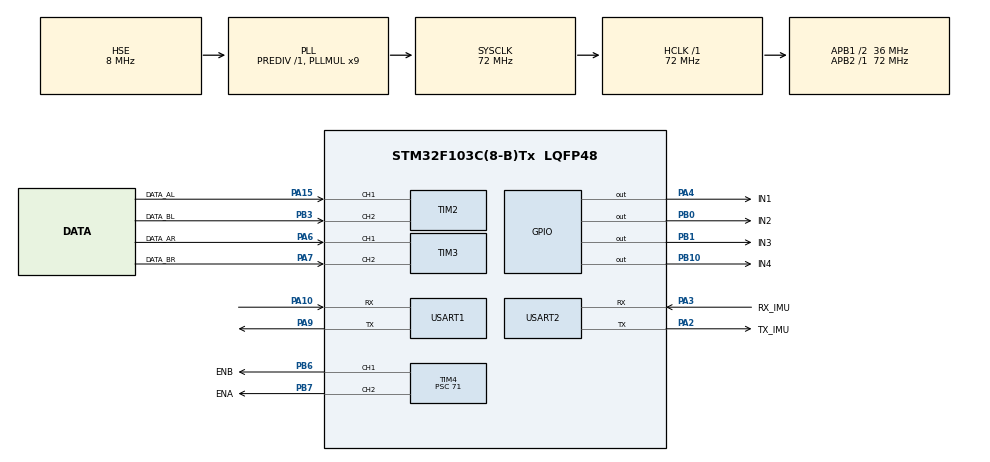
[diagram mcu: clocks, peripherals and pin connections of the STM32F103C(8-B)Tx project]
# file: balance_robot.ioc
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Dma.Request0=USART2_RX
Dma.Request1=USART1_RX
Dma.Request2=USART1_TX
Dma.USART1_RX.1.Direction=DMA_PERIPH_TO_MEMORY
Dma.USART1_RX.1.Instance=DMA1_Channel5
Dma.USART1_RX.1.MemDataAlignment=DMA_MDATAALIGN_BYTE
Dma.USART1_RX.1.MemInc=DMA_MINC_ENABLE
Dma.USART1_RX.1.Mode=DMA_CIRCULAR
Dma.USART1_RX.1.PeriphDataAlignment=DMA_PDATAALIGN_BYTE
Dma.USART1_RX.1.PeriphInc=DMA_PINC_DISABLE
Dma.USART1_RX.1.Priority=DMA_PRIORITY_LOW
Dma.USART1_TX.2.Direction=DMA_MEMORY_TO_PERIPH
Dma.USART1_TX.2.Instance=DMA1_Channel4
Dma.USART1_TX.2.MemDataAlignment=DMA_MDATAALIGN_BYTE
Dma.USART1_TX.2.MemInc=DMA_MINC_ENABLE
Dma.USART1_TX.2.Mode=DMA_CIRCULAR
Dma.USART1_TX.2.PeriphDataAlignment=DMA_PDATAALIGN_BYTE
Dma.USART1_TX.2.PeriphInc=DMA_PINC_DISABLE
Dma.USART1_TX.2.Priority=DMA_PRIORITY_LOW
Dma.USART2_RX.0.Direction=DMA_PERIPH_TO_MEMORY
Dma.USART2_RX.0.Instance=DMA1_Channel6
Dma.USART2_RX.0.MemDataAlignment=DMA_MDATAALIGN_BYTE
Dma.USART2_RX.0.MemInc=DMA_MINC_ENABLE
Dma.USART2_RX.0.Mode=DMA_CIRCULAR
Dma.USART2_RX.0.PeriphDataAlignment=DMA_PDATAALIGN_BYTE
Dma.USART2_RX.0.PeriphInc=DMA_PINC_DISABLE
Dma.USART2_RX.0.Priority=DMA_PRIORITY_LOW
Mcu.Family=STM32F1
Mcu.Name=STM32F103C(8-B)Tx
Mcu.Package=LQFP48
NVIC.DMA1_Channel5_IRQn=true\:0\:0\:false\:false\:true\:true\:true\:true
NVIC.DMA1_Channel6_IRQn=true\:0\:0\:false\:false\:true\:false\:true\:true
NVIC.PriorityGroup=NVIC_PRIORITYGROUP_4
NVIC.USART1_IRQn=true\:0\:0\:false\:false\:true\:true\:true\:true
NVIC.USART2_IRQn=true\:0\:0\:false\:false\:true\:true\:true\:true
PA10.Mode=Asynchronous
PA10.Signal=USART1_RX
PA13.Mode=Serial_Wire
PA13.Signal=SYS_JTMS-SWDIO
PA14.Mode=Serial_Wire
PA14.Signal=SYS_JTCK-SWCLK
PA15.GPIO_Label=DATA_AL
PA15.Signal=S_TIM2_CH1_ETR
PA2.GPIO_Label=TX_IMU
PA2.Mode=Asynchronous
PA2.Signal=USART2_TX
PA3.GPIO_Label=RX_IMU
PA3.Mode=Asynchronous
PA3.Signal=USART2_RX
PA4.GPIO_Label=IN1
PA4.Signal=GPIO_Output
PA6.GPIO_Label=DATA_AR
PA6.Signal=S_TIM3_CH1
PA7.GPIO_Label=DATA_BR
PA7.Signal=S_TIM3_CH2
PA9.Mode=Asynchronous
PA9.Signal=USART1_TX
PB0.GPIO_Label=IN2
PB0.Signal=GPIO_Output
PB1.GPIO_Label=IN3
PB1.Signal=GPIO_Output
PB10.GPIO_Label=IN4
PB10.Signal=GPIO_Output
PB3.GPIO_Label=DATA_BL
PB3.Signal=S_TIM2_CH2
PB6.GPIO_Label=ENB
PB6.Signal=S_TIM4_CH1
PB7.GPIO_Label=ENA
PB7.Signal=S_TIM4_CH2
PD0-OSC_IN.Mode=HSE-External-Oscillator
PD0-OSC_IN.Signal=RCC_OSC_IN
PD1-OSC_OUT.Mode=HSE-External-Oscillator
PD1-OSC_OUT.Signal=RCC_OSC_OUT
ProjectManager.HeapSize=0x200
ProjectManager.StackSize=0x400
ProjectManager.TargetToolchain=STM32CubeIDE
RCC.AHBFreq_Value=72000000
RCC.APB1CLKDivider=RCC_HCLK_DIV2
RCC.APB1Freq_Value=36000000
RCC.APB1TimFreq_Value=72000000
RCC.APB2Freq_Value=72000000
RCC.APB2TimFreq_Value=72000000
RCC.HCLKFreq_Value=72000000
RCC.PLLMUL=RCC_PLL_MUL9
RCC.PLLSourceVirtual=RCC_PLLSOURCE_HSE
RCC.SYSCLKFreq_VALUE=72000000
RCC.SYSCLKSource=RCC_SYSCLKSOURCE_PLLCLK
RCC.USBFreq_Value=72000000
SH.S_TIM2_CH1_ETR.0=TIM2_CH1,Encoder_Interface
SH.S_TIM2_CH2.0=TIM2_CH2,Encoder_Interface
SH.S_TIM3_CH1.0=TIM3_CH1,Encoder_Interface
SH.S_TIM3_CH2.0=TIM3_CH2,Encoder_Interface
SH.S_TIM4_CH1.0=TIM4_CH1,PWM Generation1 CH1
SH.S_TIM4_CH2.0=TIM4_CH2,PWM Generation2 CH2
TIM2.EncoderMode=TIM_ENCODERMODE_TI12
TIM3.EncoderMode=TIM_ENCODERMODE_TI12
TIM4.Channel-PWM\ Generation1\ CH1=TIM_CHANNEL_1
TIM4.Channel-PWM\ Generation2\ CH2=TIM_CHANNEL_2
TIM4.Period=99
TIM4.Prescaler=71
USART1.VirtualMode=VM_ASYNC
USART2.VirtualMode=VM_ASYNC
VP_TIM4_VS_ClockSourceINT.Mode=Internal
board=custom

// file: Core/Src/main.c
/* USER CODE BEGIN Header */
/* ... (giữ nguyên phần header) */
/* USER CODE END Header */
#include "main.h"

/* USER CODE BEGIN Includes */
#include "Motor_control.h"
#include "encoder.h"
#include "PID.h"
#include "R1350N.h"
#include "math.h"
#include "protocol.h"          // ← giữ nguyên
#include "string.h"
/* USER CODE END Includes */

TIM_HandleTypeDef htim2;
TIM_HandleTypeDef htim3;
TIM_HandleTypeDef htim4;

UART_HandleTypeDef huart1;
UART_HandleTypeDef huart2;
DMA_HandleTypeDef hdma_usart1_rx;
DMA_HandleTypeDef hdma_usart1_tx;
DMA_HandleTypeDef hdma_usart2_rx;

/* USER CODE BEGIN PV */
uint8_t uart_rx_buf[64]; // Bộ đệm DMA nhận dữ liệu từ ESP32
CommandPacket_t rx_packet; // Struct chứa PID mới từ Web
uint8_t rx_buffer_tam[128]; // Thùng gom mảnh vụn
uint16_t rx_len_tam = 0;    // Số byte hiện có trong thùng
Motor_t motor_left;
Motor_t motor_right;
Encoder_t enc_left, enc_right;
R1350N_t imu;

uint32_t pid_run_count = 0;
/* USER CODE END PV */

void SystemClock_Config(void);
static void MX_GPIO_Init(void);
static void MX_DMA_Init(void);
static void MX_TIM2_Init(void);
static void MX_TIM3_Init(void);
static void MX_TIM4_Init(void);
static void MX_USART2_UART_Init(void);
static void MX_USART1_UART_Init(void);
/* USER CODE BEGIN PFP */
PIDController pid_balance;
/* USER CODE END PFP */

/* USER CODE BEGIN 0 */
void HAL_UART_RxCpltCallback(UART_HandleTypeDef *huart) {
    if (huart->Instance == USART2) {
        R1350N_Parse(&imu);
    }
}
/* USER CODE END 0 */

int main(void)
{

  /* MCU Configuration--------------------------------------------------------*/

  /* Reset of all peripherals, Initializes the Flash interface and the Systick. */
  HAL_Init();

  /* Configure the system clock */
  SystemClock_Config();

  /* Initialize all configured peripherals */
  MX_GPIO_Init();
  MX_DMA_Init();
  MX_TIM2_Init();
  MX_TIM3_Init();
  MX_TIM4_Init();
  MX_USART2_UART_Init();
  MX_USART1_UART_Init();
  /* USER CODE BEGIN 2 */
  Motor_Init(&motor_left, GPIOA, GPIO_PIN_4, GPIOB, GPIO_PIN_0, &htim4, TIM_CHANNEL_2, 30, 99);
    Motor_Init(&motor_right, GPIOB, GPIO_PIN_1, GPIOB, GPIO_PIN_10, &htim4, TIM_CHANNEL_1, 30, 99);
    Encoder_Init(&enc_left, &htim2, 11, 30.0f);
    Encoder_Init(&enc_right, &htim3, 11, 30.0f);

    R1350N_Init(&imu, &huart2);

    // KÍCH HOẠT LẮNG NGHE ESP32 QUA DMA
    HAL_UARTEx_ReceiveToIdle_DMA(&huart1, uart_rx_buf, sizeof(CommandPacket_t) + 10);

    HAL_TIM_Encoder_Start(&htim2, TIM_CHANNEL_ALL);
    HAL_TIM_Encoder_Start(&htim3, TIM_CHANNEL_ALL);

    // Khởi tạo thông số PID mặc định
    pid_balance.Kp = 0.0f;
    pid_balance.Ki = 0.0f;
    pid_balance.Kd = 0.0f;
    pid_balance.tau = 0.05f;
    pid_balance.T = 0.01f;
    pid_balance.limMin = -45.0f;
    pid_balance.limMax = 45.0f;
    pid_balance.limMinInt = -90.0f;
    pid_balance.limMaxInt = 90.0f;
    PIDController_Init(&pid_balance);

    // Calib IMU
    imu.gyro_bias = 0.0f;
    //HAL_GPIO_WritePin(GPIOC, GPIO_PIN_13, GPIO_PIN_SET);
    for (int i = 0; i < 300; i++) {
        while (!imu.is_data_ready) {}
        imu.is_data_ready = false;
        imu.gyro_bias += imu.rate;
        HAL_Delay(10);
    }
    imu.gyro_bias /= 300.0f;
    //HAL_GPIO_WritePin(GPIOC, GPIO_PIN_13, GPIO_PIN_RESET);
    imu.filtered_angle = imu.angle;
  /* USER CODE END 2 */

  /* Infinite loop */
  while (1)
  {

    /* USER CODE BEGIN 3 */
	  // 1. GỬI TELEMETRY LÊN ESP32 MỖI 50ms
	  static uint32_t last_telemetry = 0;
	  if (HAL_GetTick() - last_telemetry >= 50) {
	      // Truyền PID đang chạy và Offset Kx thực tế lên Web
	      Send_Telemetry(imu.filtered_angle, 0.0f, pid_balance.Kp, pid_balance.Ki, pid_balance.Kd, rx_packet.kx);
	      last_telemetry = HAL_GetTick();
	  }

	  // 2. LOGIC GIỮ THĂNG BẰNG
	  if (imu.is_data_ready) {
	      imu.is_data_ready = false;
	     // pid_run_count++;

	      // --- Bộ lọc bù Complementary Filter ---
	      float dt = 0.01f;
	      float alpha = 0.98f;
	      float accel_angle = atan2f(-imu.acc_x, imu.acc_y) * (180.0f / 3.14159265f);
	      float gyro_angle = imu.filtered_angle + (imu.rate - imu.gyro_bias) * dt;
	      imu.filtered_angle = alpha * gyro_angle + (1.0f - alpha) * accel_angle;

	      // --- Cập nhật vận tốc ---
	      Encoder_Update(&enc_left, dt);
	      Encoder_Update(&enc_right, dt);

	      // --- Tính toán PID ---
	      float current_angle = imu.filtered_angle;

	      // Góc ngã > 45 độ thì tắt motor bảo vệ mạch
	      if (current_angle > 45.0f || current_angle < -45.0f) {
	          Motor_Stop(&motor_left);
	          Motor_Stop(&motor_right);
	          pid_balance.integrator = 0.0f; // Reset tích phân
	          continue;
	      }

	      float output = PIDController_Update(&pid_balance, rx_packet.kx, current_angle);
	      Motor_Control(&motor_left, (int16_t)output);
	      Motor_Control(&motor_right, (int16_t)output);
	        }
  	  }
  /* USER CODE END 3 */
}

void SystemClock_Config(void)
{
  RCC_OscInitTypeDef RCC_OscInitStruct = {0};
  RCC_ClkInitTypeDef RCC_ClkInitStruct = {0};

  /** Initializes the RCC Oscillators according to the specified parameters
  * in the RCC_OscInitTypeDef structure.
  */
  RCC_OscInitStruct.OscillatorType = RCC_OSCILLATORTYPE_HSE;
  RCC_OscInitStruct.HSEState = RCC_HSE_ON;
  RCC_OscInitStruct.HSEPredivValue = RCC_HSE_PREDIV_DIV1;
  RCC_OscInitStruct.HSIState = RCC_HSI_ON;
  RCC_OscInitStruct.PLL.PLLState = RCC_PLL_ON;
  RCC_OscInitStruct.PLL.PLLSource = RCC_PLLSOURCE_HSE;
  RCC_OscInitStruct.PLL.PLLMUL = RCC_PLL_MUL9;
  if (HAL_RCC_OscConfig(&RCC_OscInitStruct) != HAL_OK)
  {
    Error_Handler();
  }

  /** Initializes the CPU, AHB and APB buses clocks
  */
  RCC_ClkInitStruct.ClockType = RCC_CLOCKTYPE_HCLK|RCC_CLOCKTYPE_SYSCLK
                              |RCC_CLOCKTYPE_PCLK1|RCC_CLOCKTYPE_PCLK2;
  RCC_ClkInitStruct.SYSCLKSource = RCC_SYSCLKSOURCE_PLLCLK;
  RCC_ClkInitStruct.AHBCLKDivider = RCC_SYSCLK_DIV1;
  RCC_ClkInitStruct.APB1CLKDivider = RCC_HCLK_DIV2;
  RCC_ClkInitStruct.APB2CLKDivider = RCC_HCLK_DIV1;

  if (HAL_RCC_ClockConfig(&RCC_ClkInitStruct, FLASH_LATENCY_2) != HAL_OK)
  {
    Error_Handler();
  }
}

static void MX_TIM2_Init(void)
{

  TIM_Encoder_InitTypeDef sConfig = {0};
  TIM_MasterConfigTypeDef sMasterConfig = {0};

  htim2.Instance = TIM2;
  htim2.Init.Prescaler = 0;
  htim2.Init.CounterMode = TIM_COUNTERMODE_UP;
  htim2.Init.Period = 65535;
  htim2.Init.ClockDivision = TIM_CLOCKDIVISION_DIV1;
  htim2.Init.AutoReloadPreload = TIM_AUTORELOAD_PRELOAD_DISABLE;
  sConfig.EncoderMode = TIM_ENCODERMODE_TI12;
  sConfig.IC1Polarity = TIM_ICPOLARITY_RISING;
  sConfig.IC1Selection = TIM_ICSELECTION_DIRECTTI;
  sConfig.IC1Prescaler = TIM_ICPSC_DIV1;
  sConfig.IC1Filter = 0;
  sConfig.IC2Polarity = TIM_ICPOLARITY_RISING;
  sConfig.IC2Selection = TIM_ICSELECTION_DIRECTTI;
  sConfig.IC2Prescaler = TIM_ICPSC_DIV1;
  sConfig.IC2Filter = 0;
  if (HAL_TIM_Encoder_Init(&htim2, &sConfig) != HAL_OK)
  {
    Error_Handler();
  }
  sMasterConfig.MasterOutputTrigger = TIM_TRGO_RESET;
  sMasterConfig.MasterSlaveMode = TIM_MASTERSLAVEMODE_DISABLE;
  if (HAL_TIMEx_MasterConfigSynchronization(&htim2, &sMasterConfig) != HAL_OK)
  {
    Error_Handler();
  }

}

static void MX_TIM3_Init(void)
{

  TIM_Encoder_InitTypeDef sConfig = {0};
  TIM_MasterConfigTypeDef sMasterConfig = {0};

  htim3.Instance = TIM3;
  htim3.Init.Prescaler = 0;
  htim3.Init.CounterMode = TIM_COUNTERMODE_UP;
  htim3.Init.Period = 65535;
  htim3.Init.ClockDivision = TIM_CLOCKDIVISION_DIV1;
  htim3.Init.AutoReloadPreload = TIM_AUTORELOAD_PRELOAD_DISABLE;
  sConfig.EncoderMode = TIM_ENCODERMODE_TI12;
  sConfig.IC1Polarity = TIM_ICPOLARITY_RISING;
  sConfig.IC1Selection = TIM_ICSELECTION_DIRECTTI;
  sConfig.IC1Prescaler = TIM_ICPSC_DIV1;
  sConfig.IC1Filter = 0;
  sConfig.IC2Polarity = TIM_ICPOLARITY_RISING;
  sConfig.IC2Selection = TIM_ICSELECTION_DIRECTTI;
  sConfig.IC2Prescaler = TIM_ICPSC_DIV1;
  sConfig.IC2Filter = 0;
  if (HAL_TIM_Encoder_Init(&htim3, &sConfig) != HAL_OK)
  {
    Error_Handler();
  }
  sMasterConfig.MasterOutputTrigger = TIM_TRGO_RESET;
  sMasterConfig.MasterSlaveMode = TIM_MASTERSLAVEMODE_DISABLE;
  if (HAL_TIMEx_MasterConfigSynchronization(&htim3, &sMasterConfig) != HAL_OK)
  {
    Error_Handler();
  }

}

static void MX_TIM4_Init(void)
{

  TIM_ClockConfigTypeDef sClockSourceConfig = {0};
  TIM_MasterConfigTypeDef sMasterConfig = {0};
  TIM_OC_InitTypeDef sConfigOC = {0};

  htim4.Instance = TIM4;
  htim4.Init.Prescaler = 71;
  htim4.Init.CounterMode = TIM_COUNTERMODE_UP;
  htim4.Init.Period = 99;
  htim4.Init.ClockDivision = TIM_CLOCKDIVISION_DIV1;
  htim4.Init.AutoReloadPreload = TIM_AUTORELOAD_PRELOAD_DISABLE;
  if (HAL_TIM_Base_Init(&htim4) != HAL_OK)
  {
    Error_Handler();
  }
  sClockSourceConfig.ClockSource = TIM_CLOCKSOURCE_INTERNAL;
  if (HAL_TIM_ConfigClockSource(&htim4, &sClockSourceConfig) != HAL_OK)
  {
    Error_Handler();
  }
  if (HAL_TIM_PWM_Init(&htim4) != HAL_OK)
  {
    Error_Handler();
  }
  sMasterConfig.MasterOutputTrigger = TIM_TRGO_RESET;
  sMasterConfig.MasterSlaveMode = TIM_MASTERSLAVEMODE_DISABLE;
  if (HAL_TIMEx_MasterConfigSynchronization(&htim4, &sMasterConfig) != HAL_OK)
  {
    Error_Handler();
  }
  sConfigOC.OCMode = TIM_OCMODE_PWM1;
  sConfigOC.Pulse = 0;
  sConfigOC.OCPolarity = TIM_OCPOLARITY_HIGH;
  sConfigOC.OCFastMode = TIM_OCFAST_DISABLE;
  if (HAL_TIM_PWM_ConfigChannel(&htim4, &sConfigOC, TIM_CHANNEL_1) != HAL_OK)
  {
    Error_Handler();
  }
  if (HAL_TIM_PWM_ConfigChannel(&htim4, &sConfigOC, TIM_CHANNEL_2) != HAL_OK)
  {
    Error_Handler();
  }
  HAL_TIM_MspPostInit(&htim4);

}

static void MX_USART1_UART_Init(void)
{

  huart1.Instance = USART1;
  huart1.Init.BaudRate = 115200;
  huart1.Init.WordLength = UART_WORDLENGTH_8B;
  huart1.Init.StopBits = UART_STOPBITS_1;
  huart1.Init.Parity = UART_PARITY_NONE;
  huart1.Init.Mode = UART_MODE_TX_RX;
  huart1.Init.HwFlowCtl = UART_HWCONTROL_NONE;
  huart1.Init.OverSampling = UART_OVERSAMPLING_16;
  if (HAL_UART_Init(&huart1) != HAL_OK)
  {
    Error_Handler();
  }

}

static void MX_USART2_UART_Init(void)
{

  huart2.Instance = USART2;
  huart2.Init.BaudRate = 115200;
  huart2.Init.WordLength = UART_WORDLENGTH_8B;
  huart2.Init.StopBits = UART_STOPBITS_1;
  huart2.Init.Parity = UART_PARITY_NONE;
  huart2.Init.Mode = UART_MODE_TX_RX;
  huart2.Init.HwFlowCtl = UART_HWCONTROL_NONE;
  huart2.Init.OverSampling = UART_OVERSAMPLING_16;
  if (HAL_UART_Init(&huart2) != HAL_OK)
  {
    Error_Handler();
  }

}

static void MX_DMA_Init(void)
{

  /* DMA controller clock enable */
  __HAL_RCC_DMA1_CLK_ENABLE();

  /* DMA interrupt init */
  /* DMA1_Channel5_IRQn interrupt configuration */
  HAL_NVIC_SetPriority(DMA1_Channel5_IRQn, 0, 0);
  HAL_NVIC_EnableIRQ(DMA1_Channel5_IRQn);
  /* DMA1_Channel6_IRQn interrupt configuration */
  HAL_NVIC_SetPriority(DMA1_Channel6_IRQn, 0, 0);
  HAL_NVIC_EnableIRQ(DMA1_Channel6_IRQn);

}

static void MX_GPIO_Init(void)
{
  GPIO_InitTypeDef GPIO_InitStruct = {0};

  /* GPIO Ports Clock Enable */
  __HAL_RCC_GPIOD_CLK_ENABLE();
  __HAL_RCC_GPIOA_CLK_ENABLE();
  __HAL_RCC_GPIOB_CLK_ENABLE();

  /*Configure GPIO pin Output Level */
  HAL_GPIO_WritePin(IN1_GPIO_Port, IN1_Pin, GPIO_PIN_RESET);

  /*Configure GPIO pin Output Level */
  HAL_GPIO_WritePin(GPIOB, IN2_Pin|IN3_Pin|IN4_Pin, GPIO_PIN_RESET);

  /*Configure GPIO pin : IN1_Pin */
  GPIO_InitStruct.Pin = IN1_Pin;
  GPIO_InitStruct.Mode = GPIO_MODE_OUTPUT_PP;
  GPIO_InitStruct.Pull = GPIO_NOPULL;
  GPIO_InitStruct.Speed = GPIO_SPEED_FREQ_LOW;
  HAL_GPIO_Init(IN1_GPIO_Port, &GPIO_InitStruct);

  /*Configure GPIO pins : IN2_Pin IN3_Pin IN4_Pin */
  GPIO_InitStruct.Pin = IN2_Pin|IN3_Pin|IN4_Pin;
  GPIO_InitStruct.Mode = GPIO_MODE_OUTPUT_PP;
  GPIO_InitStruct.Pull = GPIO_NOPULL;
  GPIO_InitStruct.Speed = GPIO_SPEED_FREQ_LOW;
  HAL_GPIO_Init(GPIOB, &GPIO_InitStruct);

}

/* USER CODE BEGIN 4 */

void HAL_UARTEx_RxEventCallback(UART_HandleTypeDef *huart, uint16_t Size) {
    if (huart->Instance == USART1) {

        // 1. Gom dữ liệu gửi về
        if (rx_len_tam + Size <= 128) {
            memcpy(&rx_buffer_tam[rx_len_tam], uart_rx_buf, Size);
            rx_len_tam += Size;
        } else {
            rx_len_tam = 0; // đầy thì reset về 0
        }

        // 2. phân tích gói dữ liệu gửi về
        if (Parse_Packet(rx_buffer_tam, rx_len_tam, &rx_packet)){
            // TÌM THẤY GÓI TIN HOÀN CHỈNH!
            if (rx_packet.mode == 0) {
                Motor_Stop(&motor_left);
                Motor_Stop(&motor_right);
            } else {
                // Cập nhật PID
                pid_balance.Kp = rx_packet.kp;
                pid_balance.Ki = rx_packet.ki;
                pid_balance.Kd = rx_packet.kd;

                // Tránh xe bị giật nảy lên khi đổi hệ số
                pid_balance.integrator = 0.0f;
            }

            rx_len_tam = 0;
        }

        // 3. Cơ chế tự chống kẹt (Auto-flush)
        if (rx_len_tam > 50) {
            rx_len_tam = 0;
        }

        // 4. Mở cửa chờ đón đợt dữ liệu tiếp theo
        HAL_UARTEx_ReceiveToIdle_DMA(&huart1, uart_rx_buf, 64);
    }
}

/* USER CODE END 4 */

void Error_Handler(void)
{
  __disable_irq();
  while (1)
  {
  }
}
